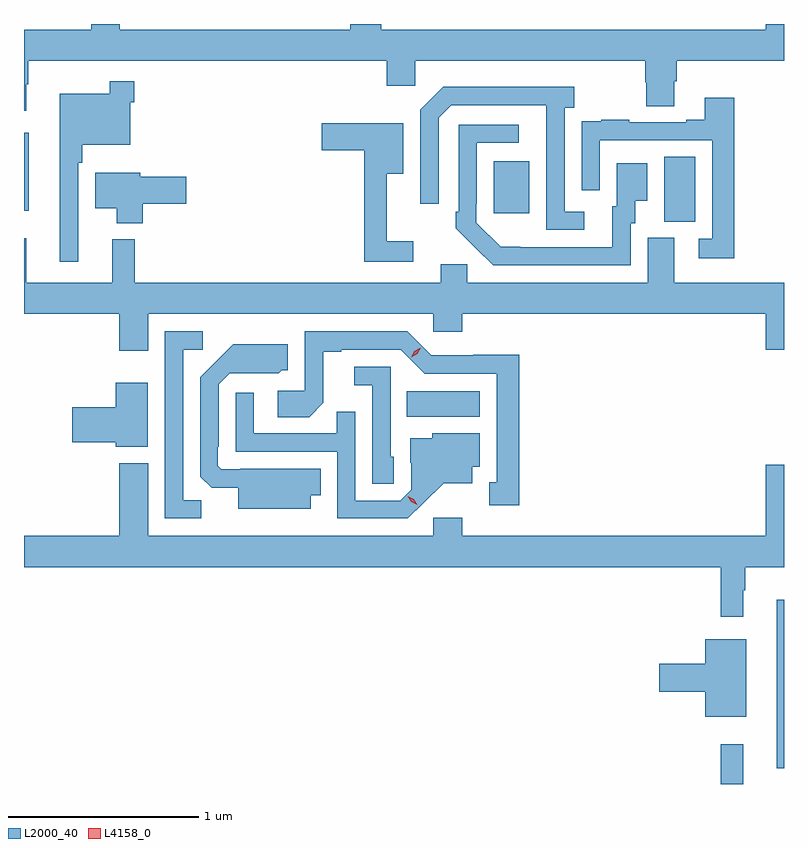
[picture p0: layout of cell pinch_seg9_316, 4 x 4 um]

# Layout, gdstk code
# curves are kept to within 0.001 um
import gdstk
lib = gdstk.Library(unit=1e-6, precision=1e-09)
def R(c, l, rs):  # rectangles x0, y0, x1, y1
    for r in rs: c.add(gdstk.rectangle(r[:2], r[2:], *l))
def P(c, l, *ps):  # polygons
    for p in ps: c.add(gdstk.Polygon(p, *l))
L2000_40 = (2000, 40)
L4158_0 = (4158, 0)

pinch_seg9_316 = lib.new_cell('pinch_seg9_316')
R(pinch_seg9_316, L2000_40, [(644.293,1176.63,644.411,1176.838), (644.588,1176.714,644.625,1177.6), (642.64,1178.564,643.024,1178.698), (643.994,1179.589,644.158,1179.932), (643.097,1179.633,643.285,1179.907), (640.625,1179.647,640.651,1180.057)])
P(pinch_seg9_316, L2000_40, [(640.636,1180.313),(640.648,1180.313),(640.648,1180.436),(642.533,1180.436),(642.533,1180.305),(642.684,1180.305),(642.684,1180.436),(643.895,1180.436),(643.895,1180.323),(643.9,1180.323),(643.9,1180.198),(644.047,1180.198),(644.047,1180.33),(644.06,1180.33),(644.06,1180.436),(644.625,1180.436),(644.625,1180.63),(644.528,1180.63),(644.528,1180.6),(642.506,1180.6),(642.506,1180.63),(642.341,1180.63),(642.341,1180.6),(641.13,1180.6),(641.13,1180.63),(640.979,1180.63),(640.979,1180.6),(640.625,1180.6),(640.625,1180.173),(640.636,1180.173)],
  [(640.911,1179.899),(640.931,1179.899),(640.931,1179.995),(641.184,1179.995),(641.184,1180.217),(641.204,1180.217),(641.204,1180.33),(641.076,1180.33),(641.076,1180.264),(640.814,1180.264),(640.814,1179.378),(640.911,1179.378)],
  [(643.573,1179.642),(643.47,1179.642),(643.47,1180.19),(643.522,1180.19),(643.522,1180.3),(642.832,1180.3),(642.711,1180.179),(642.711,1179.684),(642.807,1179.684),(642.807,1180.137),(642.873,1180.203),(643.373,1180.203),(643.374,1179.546),(643.573,1179.546)],
  [(644.363,1180.243),(644.207,1180.243),(644.207,1180.126),(644.111,1180.126),(644.111,1180.113),(643.811,1180.113),(643.811,1180.126),(643.663,1180.126),(643.663,1180.119),(643.561,1180.119),(643.561,1180.01),(643.56,1180.01),(643.56,1179.756),(643.656,1179.756),(643.656,1180.017),(644.247,1180.017),(644.247,1179.501),(644.175,1179.501),(644.175,1179.396),(644.363,1179.396)],
  [(642.673,1179.487),(642.533,1179.487),(642.533,1179.842),(642.622,1179.842),(642.622,1180.107),(642.192,1180.107),(642.192,1179.965),(642.415,1179.965),(642.415,1179.378),(642.673,1179.378)],
  [(643.818,1179.582),(643.843,1179.582),(643.843,1179.701),(643.906,1179.701),(643.906,1179.898),(643.745,1179.898),(643.745,1179.672),(643.721,1179.672),(643.721,1179.456),(643.134,1179.457),(643.005,1179.585),(643.005,1179.685),(643.008,1179.685),(643.008,1180.005),(643.228,1180.005),(643.228,1180.101),(642.912,1180.101),(642.912,1179.643),(642.897,1179.643),(642.897,1179.555),(643.094,1179.36),(643.818,1179.36)],
  [(641.249,1179.685),(641.479,1179.685),(641.479,1179.827),(641.236,1179.827),(641.236,1179.847),(641,1179.847),(641,1179.659),(641.114,1179.659),(641.114,1179.581),(641.249,1179.581)],
  [(641.278,1179.104),(642.78,1179.104),(642.78,1179.011),(642.932,1179.011),(642.932,1179.104),(644.528,1179.104),(644.528,1178.916),(644.625,1178.916),(644.625,1179.268),(644.047,1179.268),(644.047,1179.504),(643.907,1179.504),(643.907,1179.268),(642.957,1179.268),(642.957,1179.366),(642.818,1179.366),(642.818,1179.268),(641.207,1179.268),(641.207,1179.496),(641.09,1179.496),(641.09,1179.268),(640.637,1179.268),(640.637,1179.502),(640.625,1179.502),(640.625,1179.104),(641.126,1179.104),(641.126,1178.91),(641.278,1178.91)],
  [(641.559,1178.123),(641.463,1178.123),(641.463,1178.916),(641.566,1178.916),(641.566,1179.012),(641.367,1179.012),(641.367,1178.028),(641.559,1178.028)],
  [(643.231,1178.888),(642.99,1178.888),(642.99,1178.886),(642.768,1178.886),(642.642,1179.012),(642.102,1179.012),(642.102,1178.7),(641.961,1178.7),(641.961,1178.56),(642.125,1178.56),(642.201,1178.636),(642.201,1178.904),(642.295,1178.904),(642.295,1178.916),(642.609,1178.916),(642.735,1178.79),(643.112,1178.79),(643.112,1178.217),(643.073,1178.217),(643.073,1178.097),(643.231,1178.097)],
  [(642.133,1178.15),(642.188,1178.15),(642.188,1178.29),(641.764,1178.29),(641.764,1178.286),(641.664,1178.286),(641.646,1178.304),(641.646,1178.404),(641.649,1178.404),(641.649,1178.733),(641.709,1178.793),(641.966,1178.792),(641.982,1178.808),(642.013,1178.808),(642.013,1178.944),(641.725,1178.944),(641.553,1178.77),(641.553,1178.248),(641.612,1178.189),(641.753,1178.189),(641.753,1178.078),(642.133,1178.078)],
  [(642.57,1178.352),(642.555,1178.352),(642.555,1178.826),(642.363,1178.826),(642.363,1178.729),(642.459,1178.729),(642.459,1178.209),(642.57,1178.209)],
  [(641.275,1178.743),(641.108,1178.743),(641.108,1178.612),(640.878,1178.612),(640.878,1178.429),(641.108,1178.429),(641.108,1178.405),(641.275,1178.405)],
  [(642.73,1178.111),(642.833,1178.213),(642.985,1178.213),(642.985,1178.3),(643.024,1178.3),(643.024,1178.476),(642.774,1178.476),(642.774,1178.449),(642.659,1178.449),(642.659,1178.32),(642.663,1178.32),(642.663,1178.178),(642.606,1178.121),(642.369,1178.121),(642.369,1178.588),(642.271,1178.588),(642.271,1178.475),(641.835,1178.475),(641.835,1178.689),(641.739,1178.689),(641.739,1178.379),(642.273,1178.379),(642.273,1178.028),(642.646,1178.028)],
  [(644.41,1177.649),(644.422,1177.649),(644.422,1177.772),(644.625,1177.772),(644.625,1178.311),(644.528,1178.311),(644.528,1177.936),(642.932,1177.936),(642.932,1178.032),(642.78,1178.032),(642.78,1177.936),(641.278,1177.936),(641.278,1178.317),(641.126,1178.317),(641.126,1177.936),(640.625,1177.936),(640.625,1177.772),(644.293,1177.772),(644.293,1177.509),(644.41,1177.509)],
  [(644.425,1177.393),(644.21,1177.393),(644.21,1177.262),(643.968,1177.262),(643.968,1177.115),(644.21,1177.115),(644.21,1176.983),(644.425,1176.983)])
P(pinch_seg9_316, L4158_0, [(642.662,1178.876),(642.662,1178.876),(642.68,1178.908),(642.712,1178.927),(642.712,1178.927),(642.712,1178.926),(642.695,1178.894),(642.663,1178.876)],
  [(642.695,1178.101),(642.664,1178.115),(642.646,1178.144),(642.646,1178.144),(642.646,1178.144),(642.677,1178.13),(642.695,1178.101),(642.695,1178.101)])

lib.write_gds('pinch_seg9_316.gds')
